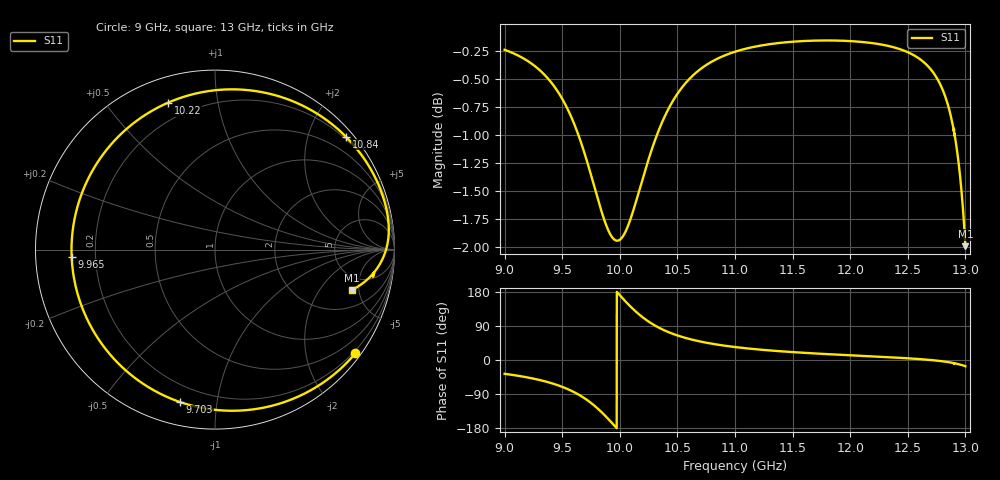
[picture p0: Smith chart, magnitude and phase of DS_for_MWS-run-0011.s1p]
! TOUCHSTONE file generated by CST DESIGN STUDIO
! Date and time: Tue Feb  4 13:02:28 2025
! Project name: C:\Work\MatlabApps\UnitCellOptimizationMatlab\CST\unitcell.cst
! Tree item: Tasks\Sweep1\SPara1\S-Parameters
! Header version: 2024
! Port assignment regex: !\s*Touchstone port\s*([0-9]+)\s*=\s*(CST MWS port|CST DES external port|CST DES block port)\s*(.+)\s* \(\"(.*)\"\)(\s*mode\s*([0-9]+))?.*
! Touchstone port assignment:
! Touchstone port 1 = CST DES external port 1 ("")
# GHz S MA R 50
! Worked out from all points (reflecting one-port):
!   4001 points, 9 GHz to 13 GHz, reference 50 ohm
!   lowest |S11| = -2.0 dB at 13 GHz (marker M1), VSWR 8.76, Z = 172 - j210 ohm
!   phase of S11 starts at -36 deg and turns -340 deg over the sweep
!   S11 on the Smith chart (normalised r, x): 9 GHz: 0.14, -3.03; 9.703 GHz: 0.11, -0.79; 9.965 GHz: 0.11, -0.02; 10.22 GHz: 0.12, +0.72; 10.84 GHz: 0.15, +2.68; 13 GHz: 3.45, -4.21
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9  0.9724 -36.4
9.148  0.9648 -43.2
9.283  0.9544 -51.3
9.398  0.9413 -60.4
9.5  0.9247 -70.8
9.614  0.8985 -86.5
9.703  0.8714 -102.9
9.767  0.8492 -117.4
9.828  0.8281 -133.6
9.901  0.8078 -155.9
9.965  0.7997 -177.2
10  0.8002 170.9
10.053  0.8076 153.5
10.114  0.8237 134.8
10.166  0.8408 120.7
10.22  0.8593 107.8
10.337  0.895 85.7
10.417  0.9141 74.3
10.5  0.9295 64.8
10.655  0.9492 51.7
10.843  0.9633 40.8
11  0.9704 34.2
11.5  0.9804 20.8
12  0.9811 12.4
12.5  0.97 4.5
12.832  0.9246 -4.7
12.924  0.8794 -9.8
13  0.795 -16.4
